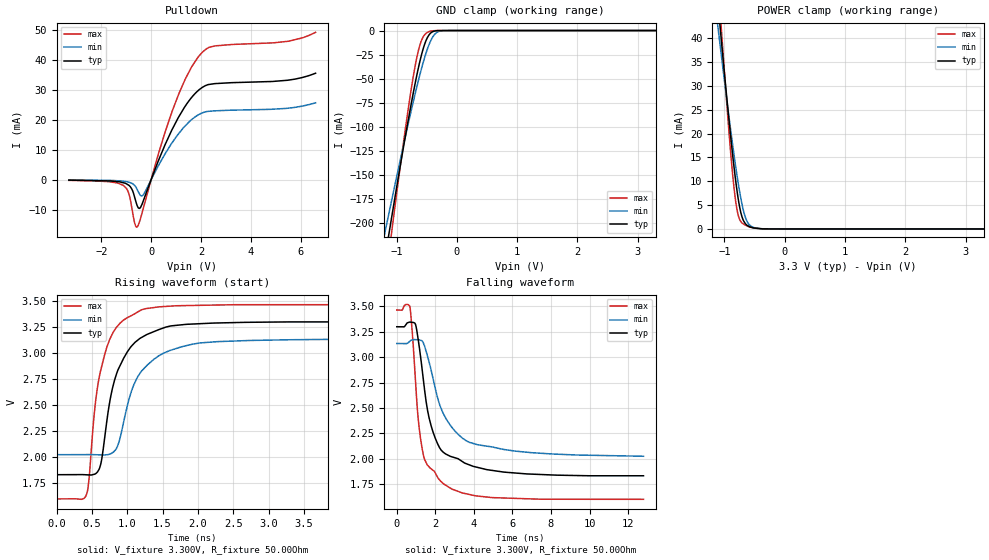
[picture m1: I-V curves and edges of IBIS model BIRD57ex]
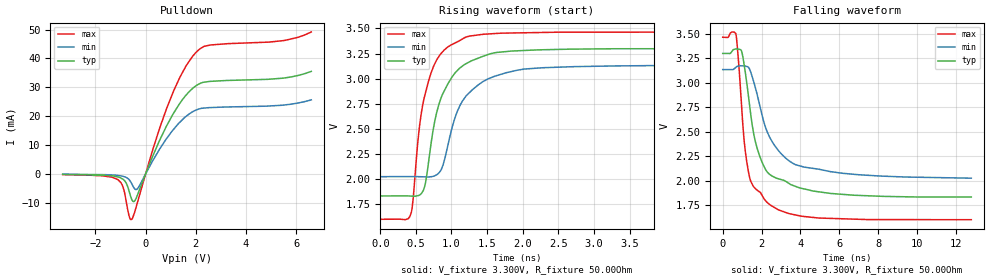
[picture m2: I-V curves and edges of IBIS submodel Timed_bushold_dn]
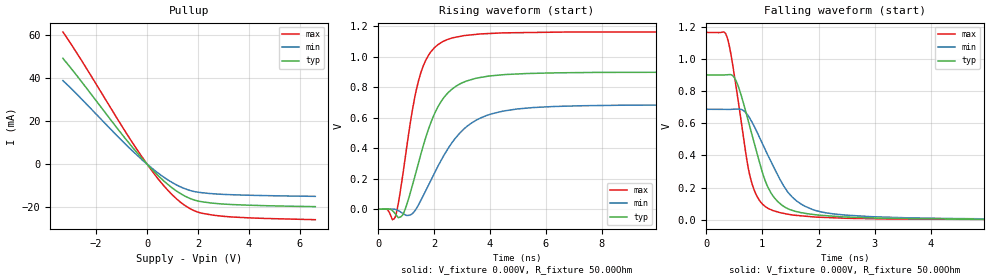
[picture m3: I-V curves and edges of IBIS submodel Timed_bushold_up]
[IBIS Ver]   3.2
[File name]   bird57ex.ibs
[File rev]   0.00
[Date]   12/9/98
[Source]   From silicon level BOGUS SPICE model.
[Notes]   The following information uses the features of BIRD57 to
   describe a FICTICIOUS chip which has an active termintor.
[Disclaimer] This information is only for demonstrating how BIRD57
                works and does not represent any real device in production
                or design.
                WARNING: THIS MODEL HAS NOT BEEN CHECKED USING IBISCHK3.2
                WHICH IS UNDER DEVELOPMENT.  IT MAY CONTAIN SYNTAX ERRORS.
[Copyright]   None - public sample
[Component]   BIRD57ex
[Manufacturer]  Nobody
[Package]
|   typ   min   max
R_pkg   100.00mOhm   NA   NA
L_pkg   8.00nH   NA   NA
C_pkg   5.00pF   NA   NA
[Pin]   signal_name   model_name   R_pin   L_pin   C_pin
1   Vcc   POWER
2   GND   GND
3   Data   BIRD57ex
| Models and submodels in the file (3): BIRD57ex (I/O_open_sink), Timed_bushold_dn (Bus_hold), Timed_bushold_up (Bus_hold)
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[Model]   BIRD57ex
Model_type   I/O_open_sink
Vinl = 800.00mV
Vinh = 2.00V
Vmeas = 1.50V
Cref = 0.00F
|   typ   min   max
C_comp   4.00pF   2.00pF   6.00pF
[Voltage Range]   3.300V   3.135V   3.465V
[Temperature Range]   50.0   100.0   0.0
[Add Submodel]
| name   mode
Timed_bushold_up   All
Timed_bushold_dn   Non-Driving
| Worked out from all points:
|   slope of the pulldown table from 0 to 0.495 V, typ, clamps not added: 47.7 ohm
|   GND clamp passes 1 mA (typ) near -0.39 V on its own axis
|   POWER clamp passes 1 mA (typ) near -0.64 V on its own axis
|   falling waveform, V_fixture 3.300V, R_fixture 50.00Ohm: 20-80 % time 941ps typ, 1.42ns min, 633ps max; typ from 3.3 V to 1.83 V
|   rising waveform, V_fixture 3.300V, R_fixture 50.00Ohm: 20-80 % time 328ps typ, 412ps min, 250ps max; typ from 1.83 V to 3.3 V
[Pulldown]
|   Voltage   I(typ)   I(min)   I(max)
-3.3V     -135.8uA   -78.2uA    -215.1uA
-1.025V   -1.197mA   NA         NA
-785mV    -2.945mA   -1.129mA   NA
-705mV    -4.542mA   NA         NA
-555mV    -8.746mA   NA         NA
-365mV    -8.224mA   NA         NA
825mV     16.45mA    NA         NA
1.46V     25.65mA    NA         NA
2.055V    30.81mA    NA         NA
2.56V     32.06mA    NA         NA
5.47V     33.18mA    NA         NA
6.6V      35.53mA    25.66mA    49.18mA
[GND Clamp]
|   Voltage   I(typ)   I(min)   I(max)
-3.3V     -1.1A      -859.8mA   -1.35A
-1.265V   -264.8mA   NA         -300.4mA
-1.135V   -214.8mA   NA         -235.9mA
-1.075V   -191.9mA   NA         NA
-825mV    -99.88mA   NA         NA
-690mV    -54.59mA   NA         NA
-585mV    -25.13mA   -39.38mA   NA
-520mV    -11.92mA   -25.29mA   NA
-460mV    -4.469mA   NA         NA
-370mV    -529.2uA   NA         NA
-285mV    -44.47uA   NA         NA
3.3V      0A         0A         0A
[POWER Clamp]
|   Voltage   I(typ)   I(min)   I(max)
-3.3V     370mA      287.5mA    500mA
-1.145V   52.63mA    46.39mA    NA
-1.095V   45.64mA    41.06mA    NA
-1.045V   38.76mA    35.79mA    NA
-895mV    19.25mA    NA         15.81mA
-820mV    10.8mA     13.69mA    NA
-775mV    6.621mA    NA         NA
-735mV    3.82mA     NA         NA
-655mV    1.132mA    2.538mA    NA
-575mV    429.4uA    NA         NA
-365mV    19.18uA    NA         NA
3.3V      0A         0A         0A
[Ramp]
R_load = 50.00Ohm
|   typ   min   max
dV/dt_r   540.04mV/1.04ns   411.75mV/1.47ns   698.42mV/705.58ps
dV/dt_f   879.96mV/936.61ps   666.10mV/1.42ns   1.12V/623.48ps
[Falling Waveform]
V_fixture = 3.300V
V_fixture_min = 3.135V
V_fixture_max = 3.465V
R_fixture = 50.00Ohm
|   Time   V(typ)   V(min)   V(max)
0s        3.3V       3.135V     3.465V
670ps     3.346V     NA         NA
970ps     3.324V     NA         NA
1.18ns    3.084V     NA         NA
1.45ns    2.666V     NA         NA
1.78ns    2.326V     NA         NA
2.42ns    2.063V     NA         NA
3.18ns    2.001V     NA         NA
3.96ns    1.926V     NA         NA
12.8ns    1.833V     2.025V     1.601V
[Rising Waveform]
V_fixture = 3.300V
V_fixture_min = 3.135V
V_fixture_max = 3.465V
R_fixture = 50.00Ohm
|   Time   V(typ)   V(min)   V(max)
0s        1.833V     2.025V     1.601V
370ps     1.834V     NA         NA
490ps     1.83V      NA         NA
580ps     1.86V      NA         NA
710ps     2.339V     NA         NA
850ps     2.802V     NA         NA
1.05ns    3.058V     NA         NA
1.28ns    3.178V     NA         NA
2.67ns    3.294V     NA         NA
12.8ns    3.3V       3.135V     3.465V
[Submodel]   Timed_bushold_dn
Submodel_type   Bus_hold
[Submodel Spec]
|   typ   min   max
V_trigger_r   15.00   15.00   15.00
V_trigger_f   1.65   1.50   1.80
Off_delay   5.00ns   3.00ns   7.00ns
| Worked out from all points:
|   slope of the pulldown table from 0 to 0.3 V, typ, clamps not added: 46.2 ohm
|   falling waveform, V_fixture 3.300V, R_fixture 50.00Ohm: 20-80 % time 941ps typ, 1.42ns min, 633ps max; typ from 3.3 V to 1.83 V
|   rising waveform, V_fixture 3.300V, R_fixture 50.00Ohm: 20-80 % time 328ps typ, 412ps min, 250ps max; typ from 1.83 V to 3.3 V
[Pulldown]
|   Voltage   I(typ)   I(min)   I(max)
-3.3V     -135.8uA   -78.2uA    -215.1uA
-1.025V   -1.197mA   NA         NA
-785mV    -2.945mA   -1.129mA   NA
-705mV    -4.542mA   NA         NA
-555mV    -8.746mA   NA         NA
-365mV    -8.224mA   NA         NA
825mV     16.45mA    NA         NA
1.46V     25.65mA    NA         NA
2.055V    30.81mA    NA         NA
2.56V     32.06mA    NA         NA
5.47V     33.18mA    NA         NA
6.6V      35.53mA    25.66mA    49.18mA
[Ramp]
R_load = 50.00Ohm
|   typ   min   max
dV/dt_r   540.04mV/1.04ns   411.75mV/1.47ns   698.42mV/705.58ps
dV/dt_f   879.96mV/936.61ps   666.10mV/1.42ns   1.12V/623.48ps
[Falling Waveform]
V_fixture = 3.300V
V_fixture_min = 3.135V
V_fixture_max = 3.465V
R_fixture = 50.00Ohm
|   Time   V(typ)   V(min)   V(max)
0s        3.3V       3.135V     3.465V
670ps     3.346V     NA         NA
970ps     3.324V     NA         NA
1.18ns    3.084V     NA         NA
1.45ns    2.666V     NA         NA
1.78ns    2.326V     NA         NA
2.42ns    2.063V     NA         NA
3.18ns    2.001V     NA         NA
3.96ns    1.926V     NA         NA
12.8ns    1.833V     2.025V     1.601V
[Rising Waveform]
V_fixture = 3.300V
V_fixture_min = 3.135V
V_fixture_max = 3.465V
R_fixture = 50.00Ohm
|   Time   V(typ)   V(min)   V(max)
0s        1.833V     2.025V     1.601V
370ps     1.834V     NA         NA
490ps     1.83V      NA         NA
580ps     1.86V      NA         NA
710ps     2.339V     NA         NA
850ps     2.802V     NA         NA
1.05ns    3.058V     NA         NA
1.28ns    3.178V     NA         NA
2.67ns    3.294V     NA         NA
12.8ns    3.3V       3.135V     3.465V
[Submodel]   Timed_bushold_up
Submodel_type   Bus_hold
[Submodel Spec]
|   typ   min   max
V_trigger_r   1.65   1.50   1.80
V_trigger_f   -10.00   -10.00   -10.00
Off_delay   5.00ns   3.00ns   7.00ns
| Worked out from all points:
|   slope of the pullup table from 0 to 0.3 V, typ, clamps not added: 79.2 ohm
|   rising waveform, V_fixture 0.000V, R_fixture 50.00Ohm: 20-80 % time 1.04ns typ, 1.47ns min, 707ps max; typ from 0 V to 0.9 V
|   falling waveform, V_fixture 0.000V, R_fixture 50.00Ohm: 20-80 % time 466ps typ, 643ps min, 322ps max; typ from 0.9 V to 0 V
[Pullup]
|   Voltage   I(typ)   I(min)   I(max)
-3.3V     49.3mA     38.93mA    61.61mA
-2.685V   40.22mA    NA         NA
-905mV    12.69mA    NA         NA
0V        19.8nA     -62.62nA   30.91nA
675mV     -8.054mA   NA         NA
1.045V    -11.64mA   NA         NA
1.395V    -14.36mA   NA         NA
1.735V    -16.29mA   NA         NA
2.055V    -17.39mA   NA         NA
2.875V    -18.57mA   NA         NA
3.89V     -19.15mA   NA         NA
6.6V      -19.87mA   -15.07mA   -25.95mA
[Ramp]
R_load = 50.00Ohm
|   typ   min   max
dV/dt_r   540.04mV/1.04ns   411.75mV/1.47ns   698.42mV/705.58ps
dV/dt_f   879.96mV/936.61ps   666.10mV/1.42ns   1.12V/623.48ps
[Rising Waveform]
V_fixture = 0.000V
V_fixture_min = 0.000V
V_fixture_max = 0.000V
R_fixture = 50.00Ohm
|   Time   V(typ)   V(min)   V(max)
0s        0V         0V         0V
560ps     -18.13mV   NA         NA
910ps     -25.05mV   NA         NA
1.28ns    193.5mV    -17.59mV   NA
1.55ns    377.6mV    NA         NA
1.96ns    604.2mV    NA         NA
2.38ns    740.6mV    NA         NA
3.14ns    840.8mV    NA         NA
4.54ns    884.4mV    NA         NA
12.8ns    900.1mV    686.2mV    1.164V
[Falling Waveform]
V_fixture = 0.000V
V_fixture_min = 0.000V
V_fixture_max = 0.000V
R_fixture = 50.00Ohm
|   Time   V(typ)   V(min)   V(max)
0s        900.1mV    686.2mV    1.164V
320ps     899.6mV    NA         NA
520ps     872.4mV    NA         NA
680ps     704.5mV    NA         NA
890ps     432.7mV    NA         NA
1.08ns    217.1mV    NA         NA
1.28ns    110.8mV    NA         NA
1.68ns    44.43mV    NA         NA
2.42ns    17.64mV    NA         NA
12.8ns    0V         0V         0V
